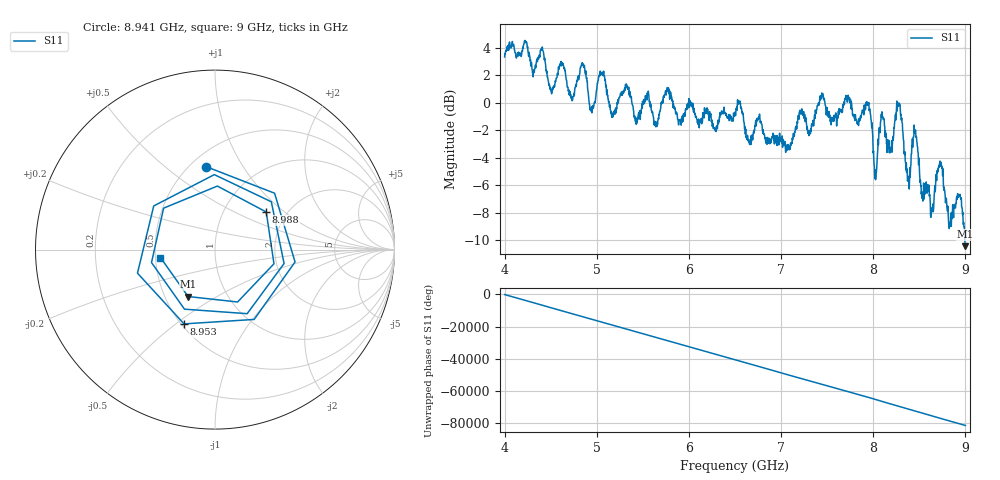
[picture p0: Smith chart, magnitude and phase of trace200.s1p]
! Created with skrf 1.8.0 (http://scikit-rf.org).
# Hz S RI R 50.0
!freq ReS11 ImS11
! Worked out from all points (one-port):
!   1601 points, 4 GHz to 9 GHz, reference 50 ohm
!   lowest |S11| = -10.4 dB at 8.997 GHz (marker M1), VSWR 1.86, Z = 32.7 - j18.8 ohm
!   |S11| at or under -10 dB: 8.994295 GHz to end of sweep
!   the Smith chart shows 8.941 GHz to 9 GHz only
!   S11 on the Smith chart (normalised r, x): 8.941 GHz: 0.59, +0.70; 8.953 GHz: 0.52, -0.54; 8.988 GHz: 1.58, +0.76; 9 GHz: 0.53, -0.05
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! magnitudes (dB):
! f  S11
! 4 GHz  3.3
! 4.409 GHz  4.1
! 4.516 GHz  1.0
! 4.625 GHz  2.8
! 4.725 GHz  0.3
! 4.856 GHz  2.7
! 4.941 GHz  -0.6
! 5.05 GHz  2.2
! 5.25 GHz  0.4
! 5.875 GHz  -1.0
! 6.5 GHz  -0.7
! 7.125 GHz  -2.7
! 7.75 GHz  0.0
! 7.947 GHz  -0.1
! 8.025 GHz  -5.6
! 8.091 GHz  -1.0
! 8.184 GHz  -3.6
! 8.275 GHz  0.0
! 8.375 GHz  -5.6
! 8.45 GHz  -2.2
! 8.634 GHz  -7.7
! 8.725 GHz  -4.2
! 8.828 GHz  -8.8
! 8.941 GHz  -6.6
! 8.953 GHz  -7.0
! 8.988 GHz  -9.0
! 8.997 GHz  -10.4
! 9 GHz  -10.3
